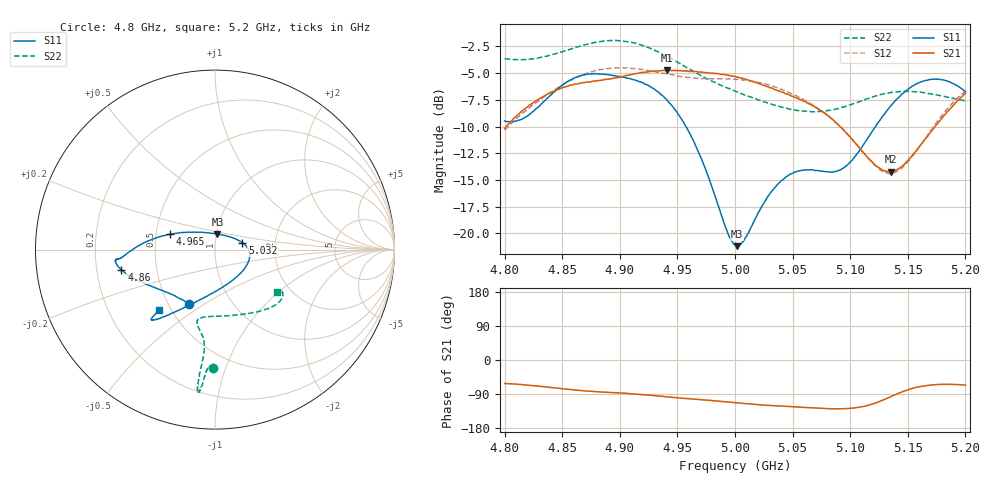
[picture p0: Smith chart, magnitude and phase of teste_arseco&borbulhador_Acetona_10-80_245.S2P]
! Network Analyzer HP8722D
! Hewlett-Packard
! Data name: Linha & Wilkinson
! Saver's name: Rodrigo Anjos
! Comments: Teste da utilização de aquisição
! continua pelo VNA HP8722D
! Time and date: 17/4/2025 16:24
!  Frequency  S11  S21  S12  S22
# HZ  S  MA R 50
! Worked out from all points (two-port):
!   401 points, 4.8 GHz to 5.2 GHz, reference 50 ohm
!   highest |S21| = -4.72 dB at 4.941 GHz (marker M1); lowest = -14.2 dB at 5.135 GHz (marker M2)
!   |S21| within 3 dB of the highest: 4.826 GHz to 5.062 GHz (236.2 MHz wide, 4.78 % of centre); 5.191979 GHz to end of sweep
!   lowest |S11| = -21.2 dB at 5.002 GHz (marker M3), VSWR 1.19, Z = 50.6 + j8.77 ohm
!   |S11| at or under -10 dB: 4.957 GHz to 5.122 GHz (164.5 MHz wide, 3.26 % of centre)
!   |S22| runs from -8.6 to -1.9 dB; largest |S21 - S12| = 0.87
!   S11 on the Smith chart (normalised r, x): 4.8 GHz: 0.63, -0.43; 4.86 GHz: 0.31, -0.10; 4.965 GHz: 0.59, +0.11; 5.032 GHz: 1.36, +0.11; 5.2 GHz: 0.43, -0.37
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4.8e9  0.3357 -116.0  0.3092 -62.1  0.304 -176.2  0.6574 -91.0
4.819e9  0.3526 -136.3  0.3883 -66.1  0.3768 -175.6  0.6534 -92.9
4.86e9  0.5331 -167.8  0.4991 -78.9  0.5294 -178.9  0.7366 -95.1
4.867e9  0.5493 -170.4  0.507 -80.8  0.5509 179.8  0.7564 -95.4
4.899e9  0.5429 -174.6  0.5379 -87.0  0.594 173.6  0.7972 -96.9
4.934e9  0.4563 179.7  0.577 -95.2  0.569 170.3  0.704 -97.2
4.941e9  0.4203 176.5  0.5807 -97.2  0.5576 170.3  0.6741 -96.9
4.965e9  0.2636 161.1  0.572 -103.6  0.5335 172.4  0.569 -96.1
4.993e9  0.1029 114.1  0.5513 -110.7  0.5281 174.6  0.4803 -98.7
5e9  0.08836 88.9  0.5423 -112.6  0.5284 174.7  0.4637 -100.0
5.002e9  0.08707 80.9  0.54 -113.1  0.5258 174.5  0.4597 -100.6
5.009e9  0.09537 55.8  0.5276 -115.0  0.5226 174.4  0.4434 -102.0
5.032e9  0.1575 13.9  0.4782 -120.2  0.4902 173.5  0.4015 -103.7
5.049e9  0.1899 -2.5  0.4398 -123.1  0.4509 172.8  0.3792 -99.1
5.067e9  0.1986 -21.8  0.3963 -126.1  0.4025 172.4  0.3714 -88.8
5.096e9  0.2058 -72.3  0.2974 -128.3  0.2979 174.7  0.3932 -66.3
5.121e9  0.3106 -110.3  0.2104 -114.6  0.2085 -169.5  0.4379 -49.5
5.134e9  0.3884 -120.4  0.1946 -98.4  0.1904 -151.4  0.4548 -43.2
5.135e9  0.394 -120.8  0.1943 -97.0  0.1905 -149.7  0.4565 -42.7
5.148e9  0.4641 -126.7  0.2135 -80.6  0.2095 -130.8  0.4624 -38.0
5.168e9  0.5238 -131.4  0.2893 -66.8  0.2931 -113.1  0.4512 -33.2
5.2e9  0.4605 -132.7  0.4522 -66.2  0.4633 -108.5  0.4165 -34.6
